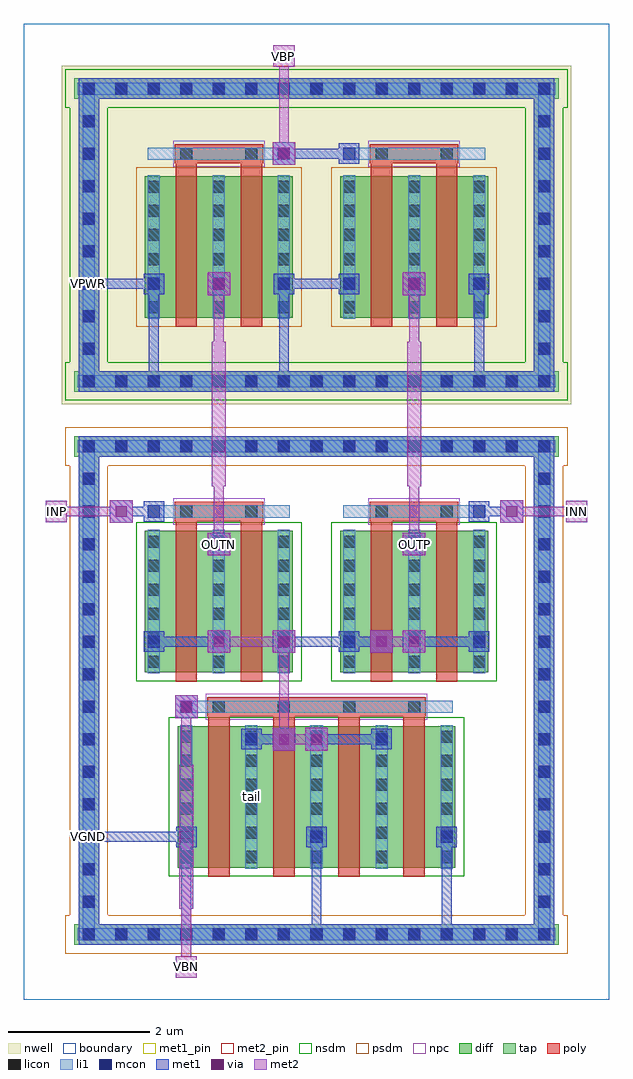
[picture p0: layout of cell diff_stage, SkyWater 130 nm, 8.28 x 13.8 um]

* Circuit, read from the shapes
.subckt diff_stage INN INP OUTN OUTP VBN VBP VGND VPWR tail
XM1 OUTN INP tail VGND sky130_fd_pr__nfet_01v8 w=2 l=0.3 m=2
XM2 tail VBN VGND VGND sky130_fd_pr__nfet_01v8 w=2 l=0.3 m=4
XM3 OUTP INN tail VGND sky130_fd_pr__nfet_01v8 w=2 l=0.3 m=2
XM4 OUTN VBP VPWR VPWR sky130_fd_pr__pfet_01v8 w=2 l=0.3 m=2
XM5 OUTP VBP VPWR VPWR sky130_fd_pr__pfet_01v8 w=2 l=0.3 m=2
.ends

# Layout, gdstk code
import gdstk
lib = gdstk.Library(unit=1e-6, precision=1e-09)
def R(c, l, rs):  # rectangles x0, y0, x1, y1
    for r in rs: c.add(gdstk.rectangle(r[:2], r[2:], *l))
def A(c, l, x, y, w, h, nx, ny, dx, dy):  # array of equal rectangles
    R(c, l, [(x+i*dx, y+j*dy, x+i*dx+w, y+j*dy+h) for i in range(nx) for j in range(ny)])
nwell = (64, 20)
diff = (65, 20)
tap = (65, 44)
poly = (66, 20)
licon = (66, 44)
li1 = (67, 20)
mcon = (67, 44)
met1_pin = (68, 16)
met1 = (68, 20)
via = (68, 44)
met2_pin = (69, 16)
met2 = (69, 20)
nsdm = (93, 44)
psdm = (94, 20)
npc = (95, 20)
boundary = (235, 4)

diff_stage = lib.new_cell('diff_stage')
R(diff_stage, nwell, [(0.535,8.415,7.745,13.205)])
R(diff_stage, diff, [(2.175,1.865,6.105,3.865), (1.715,4.625,3.805,6.625), (4.475,4.625,6.565,6.625), (1.715,9.64,3.805,11.64), (4.475,9.64,6.565,11.64)])
R(diff_stage, tap, [(0.715,0.775,7.565,1.065), (0.775,0.775,1.065,7.965), (7.215,0.775,7.505,7.965), (0.715,7.675,7.565,7.965), (0.715,8.595,7.565,8.885), (0.775,8.595,1.065,13.025), (7.215,8.595,7.505,13.025), (0.715,12.735,7.565,13.025)])
A(diff_stage, poly, 2.61, 1.735, 0.3, 2.405, 4, 1, 0.92, 0)
R(diff_stage, poly, [(2.595,4.005,5.685,4.275), (2.15,4.495,2.45,6.9), (3.07,4.495,3.37,6.9), (4.91,4.495,5.21,6.9), (5.83,4.495,6.13,6.9), (2.135,6.765,3.385,7.035), (4.895,6.765,6.145,7.035), (2.15,9.51,2.45,11.96), (3.07,9.51,3.37,11.96), (4.91,9.51,5.21,11.96), (5.83,9.51,6.13,11.96), (2.135,11.825,3.385,12.095), (4.895,11.825,6.145,12.095)])
A(diff_stage, licon, 0.835, 0.835, 0.17, 0.17, 15, 2, 0.46, 6.9)
A(diff_stage, licon, 0.835, 1.295, 0.17, 0.17, 1, 14, 0, 0.46)
A(diff_stage, licon, 7.275, 1.295, 0.17, 0.17, 1, 14, 0, 0.46)
A(diff_stage, licon, 2.215, 1.93, 0.17, 0.17, 5, 6, 0.92, 0.34)
A(diff_stage, licon, 2.675, 4.055, 0.17, 0.17, 4, 1, 0.92, 0)
A(diff_stage, licon, 1.755, 4.69, 0.17, 0.17, 6, 6, 0.92, 0.34)
A(diff_stage, licon, 0.835, 8.655, 0.17, 0.17, 15, 2, 0.46, 4.14)
A(diff_stage, licon, 0.835, 9.115, 0.17, 0.17, 1, 8, 0, 0.46)
A(diff_stage, licon, 7.275, 9.115, 0.17, 0.17, 1, 8, 0, 0.46)
A(diff_stage, licon, 1.755, 9.705, 0.17, 0.17, 6, 6, 0.92, 0.34)
R(diff_stage, licon, [(2.215,6.815,2.385,6.985), (3.135,6.815,3.305,6.985), (4.975,6.815,5.145,6.985), (5.895,6.815,6.065,6.985), (2.215,11.875,2.385,12.045), (3.135,11.875,3.305,12.045), (4.975,11.875,5.145,12.045), (5.895,11.875,6.065,12.045)])
A(diff_stage, li1, 2.215, 1.85, 0.17, 2.03, 5, 1, 0.92, 0)
A(diff_stage, li1, 1.755, 4.61, 0.17, 2.03, 6, 2, 0.92, 5.015)
R(diff_stage, li1, [(0.755,0.835,7.525,1.005), (0.835,0.835,1.005,7.905), (7.275,0.835,7.445,7.905), (2.215,4.055,6.065,4.225), (1.755,6.815,3.765,6.985), (4.515,6.815,6.525,6.985), (0.755,7.735,7.525,7.905), (0.755,8.655,7.525,8.825), (0.835,8.655,1.005,12.965), (7.275,8.655,7.445,12.965), (1.755,11.875,3.765,12.045), (4.515,11.875,6.525,12.045), (0.755,12.795,7.525,12.965)])
A(diff_stage, mcon, 0.835, 0.835, 0.17, 0.17, 15, 2, 0.46, 6.9)
A(diff_stage, mcon, 0.835, 1.295, 0.17, 0.17, 1, 14, 0, 0.46)
A(diff_stage, mcon, 7.275, 1.295, 0.17, 0.17, 1, 14, 0, 0.46)
A(diff_stage, mcon, 2.215, 2.215, 0.17, 0.17, 3, 1, 1.84, 0)
A(diff_stage, mcon, 0.835, 8.655, 0.17, 0.17, 15, 2, 0.46, 4.14)
A(diff_stage, mcon, 0.835, 10.035, 0.17, 0.17, 8, 1, 0.92, 0)
A(diff_stage, mcon, 0.835, 10.495, 0.17, 0.17, 1, 5, 0, 0.46)
A(diff_stage, mcon, 7.275, 10.495, 0.17, 0.17, 1, 5, 0, 0.46)
R(diff_stage, mcon, [(3.135,3.595,3.305,3.765), (4.975,3.595,5.145,3.765), (2.215,4.055,2.385,4.225), (1.755,4.975,1.925,5.145), (3.595,4.975,3.765,5.145), (4.515,4.975,4.685,5.145), (6.355,4.975,6.525,5.145), (2.675,6.355,2.845,6.525), (5.435,6.355,5.605,6.525), (1.755,6.815,1.925,6.985), (6.355,6.815,6.525,6.985), (0.835,9.115,1.005,9.285), (7.275,9.115,7.445,9.285), (0.835,9.575,1.005,9.745), (7.275,9.575,7.445,9.745), (3.595,11.875,3.765,12.045), (4.515,11.875,4.685,12.045)])
R(diff_stage, met1_pin, [(0.85,2.23,0.99,2.37), (0.85,10.05,0.99,10.19)])
A(diff_stage, met1, 2.23, 0.85, 0.14, 1.52, 3, 1, 1.84, 0)
A(diff_stage, met1, 2.155, 2.155, 0.29, 0.29, 3, 1, 1.84, 0)
A(diff_stage, met1, 1.77, 4.99, 1.06, 0.14, 3, 1, 1.84, 0)
A(diff_stage, met1, 1.695, 9.975, 0.29, 0.29, 6, 1, 0.92, 0)
R(diff_stage, met1, [(0.775,0.775,7.505,1.065), (0.775,0.775,1.065,7.965), (7.215,0.775,7.505,7.965), (2.23,0.85,4.21,0.99), (4.07,0.85,6.05,0.99), (0.85,2.23,0.99,2.37), (0.85,2.23,2.37,2.37), (0.85,2.23,0.99,7.89), (3.52,3.52,3.84,3.84), (3.98,3.52,4.3,3.84), (3.075,3.535,3.365,3.825), (4.915,3.535,5.205,3.825), (3.15,3.61,3.75,3.75), (4.07,3.61,5.13,3.75), (2.14,3.98,2.46,4.3), (2.155,3.995,2.445,4.285), (2.6,4.9,2.92,5.22), (3.52,4.9,3.84,5.22), (4.9,4.9,5.22,5.22), (5.36,4.9,5.68,5.22), (1.695,4.915,1.985,5.205), (3.535,4.915,3.825,5.205), (4.455,4.915,4.745,5.205), (6.295,4.915,6.585,5.205), (4.53,4.99,5.13,5.13), (2.6,6.28,2.92,6.6), (5.36,6.28,5.68,6.6), (2.615,6.295,2.905,6.585), (5.375,6.295,5.665,6.585), (1.22,6.74,1.54,7.06), (6.74,6.74,7.06,7.06), (1.695,6.755,1.985,7.045), (6.295,6.755,6.585,7.045), (1.31,6.83,1.91,6.97), (6.37,6.83,6.97,6.97), (0.775,7.675,7.505,7.965), (0.85,7.75,0.99,7.89), (0.775,8.595,7.505,8.885), (0.775,8.595,1.065,13.025), (7.215,8.595,7.505,13.025), (1.77,8.67,1.91,10.19), (1.77,8.67,3.75,8.81), (3.61,8.67,3.75,10.19), (3.61,8.67,6.51,8.81), (6.37,8.67,6.51,10.19), (2.6,9.96,2.92,10.28), (5.36,9.96,5.68,10.28), (0.85,10.05,1.91,10.19), (0.85,10.05,0.99,10.19), (0.85,10.05,0.99,12.95), (3.61,10.05,4.67,10.19), (3.52,11.8,3.84,12.12), (3.535,11.815,3.825,12.105), (4.455,11.815,4.745,12.105), (3.61,11.89,4.67,12.03), (0.775,12.735,7.505,13.025), (0.85,12.81,0.99,12.95)])
R(diff_stage, via, [(3.605,3.605,3.755,3.755), (4.065,3.605,4.215,3.755), (2.225,4.065,2.375,4.215), (2.685,4.985,2.835,5.135), (3.605,4.985,3.755,5.135), (4.985,4.985,5.135,5.135), (5.445,4.985,5.595,5.135), (2.685,6.365,2.835,6.515), (5.445,6.365,5.595,6.515), (1.305,6.825,1.455,6.975), (6.825,6.825,6.975,6.975), (2.685,10.045,2.835,10.195), (5.445,10.045,5.595,10.195), (3.605,11.885,3.755,12.035)])
R(diff_stage, met2_pin, [(2.15,0.31,2.45,0.61), (2.6,6.28,2.92,6.6), (5.36,6.28,5.68,6.6), (0.31,6.75,0.61,7.05), (7.67,6.75,7.97,7.05), (3.53,13.19,3.83,13.49)])
R(diff_stage, met2, [(2.15,0.31,2.45,0.61), (2.23,0.39,2.37,1.45), (2.23,0.39,2.37,0.53), (2.2,1.28,2.4,3.32), (2.23,3.15,2.37,4.21), (3.52,3.52,3.84,3.84), (3.98,3.52,4.3,3.84), (3.61,3.61,3.75,5.13), (3.61,3.61,4.21,3.75), (2.14,3.98,2.46,4.3), (2.6,4.9,2.92,5.22), (3.52,4.9,3.84,5.22), (4.9,4.9,5.22,5.22), (5.36,4.9,5.68,5.22), (2.69,4.99,3.75,5.13), (4.99,4.99,5.59,5.13), (2.6,6.28,2.92,6.6), (5.36,6.28,5.68,6.6), (2.69,6.37,2.83,7.43), (5.45,6.37,5.59,7.43), (1.22,6.74,1.54,7.06), (6.74,6.74,7.06,7.06), (0.31,6.75,0.61,7.05), (7.67,6.75,7.97,7.05), (0.39,6.83,0.53,6.97), (0.39,6.83,1.45,6.97), (6.83,6.83,7.89,6.97), (7.75,6.83,7.89,6.97), (2.66,7.26,2.86,9.3), (5.42,7.26,5.62,9.3), (2.69,9.13,2.83,10.19), (5.45,9.13,5.59,10.19), (2.6,9.96,2.92,10.28), (5.36,9.96,5.68,10.28), (3.52,11.8,3.84,12.12), (3.61,11.89,3.75,13.41), (3.53,13.19,3.83,13.49), (3.61,13.27,3.75,13.41)])
R(diff_stage, nsdm, [(2.05,1.74,6.23,3.99), (1.59,4.5,3.93,6.75), (4.35,4.5,6.69,6.75), (0.59,8.47,7.69,9.01), (0.65,9.01,1.19,12.61), (7.09,9.01,7.63,12.61), (0.59,12.61,7.69,13.15)])
R(diff_stage, psdm, [(0.59,0.65,7.69,1.19), (0.65,1.19,1.19,7.55), (7.09,1.19,7.63,7.55), (0.59,7.55,7.69,8.09), (1.59,9.515,3.93,11.765), (4.35,9.515,6.69,11.765)])
R(diff_stage, npc, [(2.575,3.955,5.705,4.325), (2.115,6.715,3.405,7.085), (4.875,6.715,6.165,7.085), (2.115,11.775,3.405,12.145), (4.875,11.775,6.165,12.145)])
R(diff_stage, boundary, [(0,0,8.28,13.8)])
diff_stage.add(gdstk.Label('tail', (3.22,2.865), layer=67, texttype=5))
diff_stage.add(gdstk.Label('VPWR', (0.92,10.12), layer=68, texttype=5))
diff_stage.add(gdstk.Label('VGND', (0.92,2.3), layer=68, texttype=5))
diff_stage.add(gdstk.Label('INP', (0.46,6.9), layer=69, texttype=5))
diff_stage.add(gdstk.Label('INN', (7.82,6.9), layer=69, texttype=5))
diff_stage.add(gdstk.Label('VBN', (2.3,0.46), layer=69, texttype=5))
diff_stage.add(gdstk.Label('VBP', (3.68,13.34), layer=69, texttype=5))
diff_stage.add(gdstk.Label('OUTP', (5.52,6.44), layer=69, texttype=5))
diff_stage.add(gdstk.Label('OUTN', (2.76,6.44), layer=69, texttype=5))
diff_stage.add(gdstk.Label('VPWR', (0.92,10.12), layer=68, texttype=16))
diff_stage.add(gdstk.Label('VGND', (0.92,2.3), layer=68, texttype=16))
diff_stage.add(gdstk.Label('INP', (0.46,6.9), layer=69, texttype=16))
diff_stage.add(gdstk.Label('INN', (7.82,6.9), layer=69, texttype=16))
diff_stage.add(gdstk.Label('VBN', (2.3,0.46), layer=69, texttype=16))
diff_stage.add(gdstk.Label('VBP', (3.68,13.34), layer=69, texttype=16))
diff_stage.add(gdstk.Label('OUTP', (5.52,6.44), layer=69, texttype=16))
diff_stage.add(gdstk.Label('OUTN', (2.76,6.44), layer=69, texttype=16))

lib.write_gds('diff_stage.gds')
